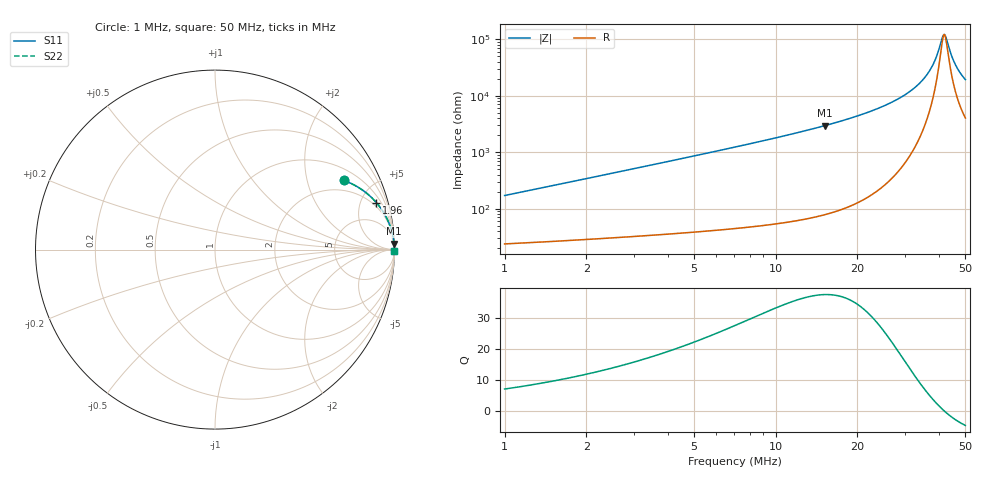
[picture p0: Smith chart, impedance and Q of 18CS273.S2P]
! Coilcraft 1812CS-273 Chip Inductor
! 31 July 2002
# MHZ S MA R 50
!Freq  MagS11  AngS11  MagS21  AngS21  MagS12  AngS12  MagS22  AngS22
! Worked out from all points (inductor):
!   410 points, 1 MHz to 50 MHz, reference 50 ohm
!   read as one part in series: L = 26.9 uH near 1.24 MHz
!   highest Q = 37.8 at 15.16 MHz (marker M1), where L = 31 uH
!   self-resonance near 41.8 MHz
!   S11 on the Smith chart (normalised r, x): 1 MHz: 1.47, +3.38; 1.96 MHz: 1.57, +6.64; 50 MHz: open
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1  0.8149 28.2  0.4774 -53.8  0.4774 -53.8  0.8149 28.2
1.48  0.8979 20.8  0.3567 -63.3  0.3567 -63.3  0.8979 20.8
1.96  0.9361 16.3  0.2811 -68.9  0.2811 -68.9  0.9361 16.3
3.16  0.9726 10.4  0.1808 -76.1  0.1808 -76.1  0.9726 10.4
4.72  0.9869 7.0  0.122 -80.3  0.122 -80.3  0.9869 7.0
6.76  0.9933 4.9  0.08463 -83.0  0.08463 -83.0  0.9933 4.9
9.28  0.9963 3.5  0.06038 -84.8  0.06038 -84.8  0.9963 3.5
15.16  0.9985 1.9  0.03384 -86.5  0.03384 -86.5  0.9985 1.9
17.44  0.9989 1.6  0.02799 -86.9  0.02799 -86.9  0.9989 1.6
25.6  0.9993 0.8  0.01444 -86.9  0.01444 -86.9  0.9993 0.8
30.28  0.9994 0.5  0.009295 -85.8  0.009295 -85.8  0.9994 0.5
33.76  0.9993 0.3  0.006121 -83.6  0.006121 -83.6  0.9993 0.3
35.92  0.9993 0.2  0.004359 -80.7  0.004359 -80.7  0.9993 0.2
37.72  0.9993 0.2  0.003001 -75.9  0.003001 -75.9  0.9993 0.2
39.28  0.9992 0.1  0.00192 -66.6  0.00192 -66.6  0.9992 0.1
41.2  0.9992 0.0  0.0009077 -27.3  0.0009077 -27.3  0.9992 0.0
41.92  0.9992 -0.0  0.0008291 5.0  0.0008291 5.0  0.9992 -0.0
42.4  0.9992 -0.0  0.000927 25.1  0.000927 25.1  0.9992 -0.0
44.32  0.9991 -0.1  0.001871 61.3  0.001871 61.3  0.9991 -0.1
45.64  0.9991 -0.1  0.002644 69.1  0.002644 69.1  0.9991 -0.1
47.68  0.999 -0.2  0.003845 74.7  0.003845 74.7  0.999 -0.2
50  0.9989 -0.3  0.00518 77.6  0.00518 77.6  0.9989 -0.3
